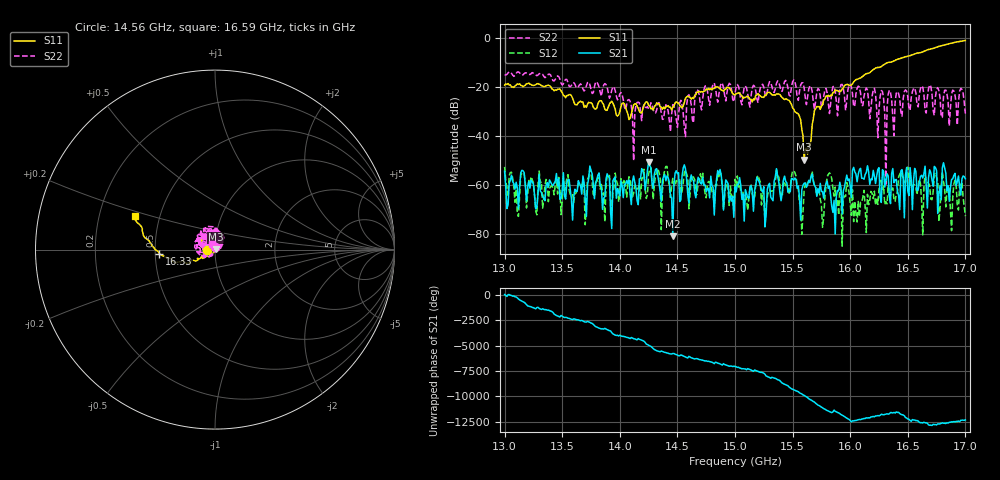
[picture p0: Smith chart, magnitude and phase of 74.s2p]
!Keysight Technologies,P9374A,MY57211807,A.19.30.04
!Date: Friday, May 01, 2026 14:24:29
!Correction: S11(C  2-Port  )
!S21(C  2-Port  )
!S12(C  2-Port  )
!S22(C  2-Port  )
!S2P File: Measurements: S11, S21, S12, S22:
# Hz S  RI  R 50
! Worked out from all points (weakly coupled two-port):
!   401 points, 13 GHz to 17 GHz, reference 50 ohm
!   highest |S21| = -50.97 dB at 14.25 GHz (marker M1); lowest = -81.2 dB at 14.46 GHz (marker M2)
!   lowest |S11| = -49.8 dB at 15.6 GHz (marker M3), VSWR 1.01, Z = 50.3 + j0.115 ohm
!   |S11| at or under -10 dB: start of sweep to 16.35 GHz
!   |S22| runs from -60.5 to -14.0 dB; largest |S21 - S12| = 0.0023
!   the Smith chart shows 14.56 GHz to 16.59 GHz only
!   S11 on the Smith chart (normalised r, x): 14.56 GHz: 0.91, -0.00; 16.33 GHz: 0.53, -0.03; 16.59 GHz: 0.36, +0.18
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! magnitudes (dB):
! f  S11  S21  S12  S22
! 13 GHz  -19.4  -54.6  -52.8  -15.2
! 13.11 GHz  -18.9  -61.3  -71.2  -14.1
! 13.16 GHz  -20.1  -54.4  -55.0  -15.2
! 13.27 GHz  -19.2  -69.9  -70.9  -15.2
! 13.67 GHz  -26.3  -63.9  -60.6  -19.6
! 14.25 GHz  -27.7  -51.0  -55.6  -29.2
! 14.34 GHz  -27.0  -59.3  -55.0  -26.5
! 14.46 GHz  -28.4  -81.2  -57.5  -27.4
! 14.56 GHz  -26.5  -51.9  -55.1  -36.6
! 15 GHz  -23.3  -60.9  -57.9  -22.8
! 15.46 GHz  -25.5  -63.1  -61.1  -20.6
! 15.51 GHz  -29.2  -58.2  -54.5  -17.3
! 15.6 GHz  -49.8  -59.5  -62.7  -20.4
! 15.67 GHz  -35.6  -55.7  -54.5  -22.0
! 15.76 GHz  -27.6  -62.9  -77.5  -28.2
! 15.81 GHz  -23.6  -61.6  -55.9  -26.6
! 15.85 GHz  -22.5  -71.4  -61.6  -20.0
! 16.04 GHz  -17.6  -54.8  -66.8  -27.6
! 16.33 GHz  -10.2  -56.4  -60.2  -23.1
! 16.34 GHz  -10.1  -64.9  -64.4  -21.5
! 16.59 GHz  -6.3  -62.2  -60.6  -28.3
! 17 GHz  -1.2  -57.6  -72.9  -31.0
